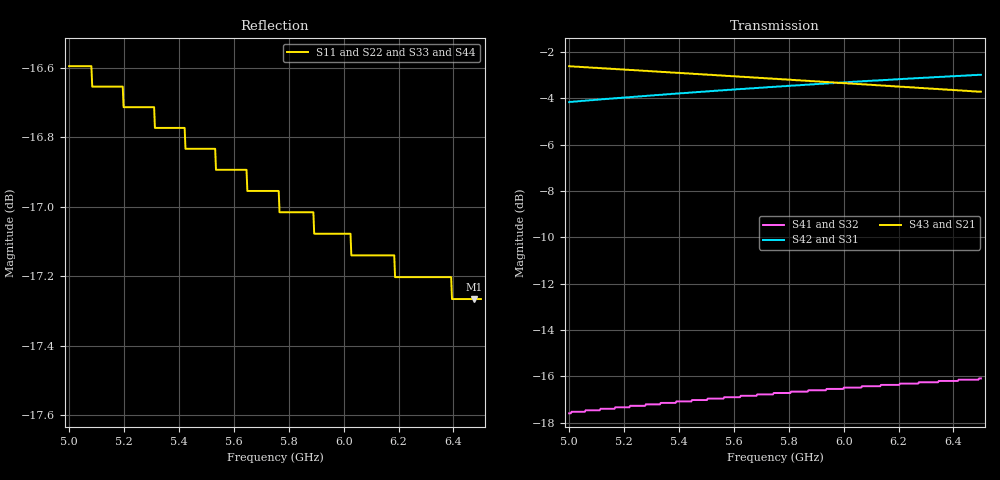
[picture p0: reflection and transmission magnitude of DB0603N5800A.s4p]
!	AVX THIN FILM OPERATION
!	0603 SIZE 3dB 90deg COUPLER P/N DB0603N5800ANTR
!	Created August 2010
!	Network Analyzer HP8720E S.07.64: Feb23, 2000 Serial No.US39172382
# MHZ S MA R 50
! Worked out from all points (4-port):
!   500 points, 5 GHz to 6.5 GHz, reference 50 ohm
!   strongest paths, dB at 5 GHz, 5.376 GHz, 5.752 GHz, 6.127 GHz, 6.5 GHz:
!     S43: -2.6, -2.9, -3.2, -3.4, -3.7
!     S21: -2.6, -2.9, -3.2, -3.4, -3.7
!     S42: -4.2, -3.8, -3.5, -3.2, -3.0
!     S31: -4.2, -3.8, -3.5, -3.2, -3.0
!     S41: -17.6, -17.1, -16.7, -16.4, -16.1
!     S32: -17.6, -17.1, -16.7, -16.4, -16.1
!   lowest |S11| = -17.3 dB at 6.476 GHz (marker M1), VSWR 1.32, Z = 41.3 - j9.06 ohm
!   |S11| at or under -10 dB: start of sweep to end of sweep
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5000  0.148 -135.9  0.74 -49.4  0.619 40.6  0.132 -49.6
      0.74 -49.4  0.148 -135.9  0.132 -49.6  0.619 40.6
      0.619 40.6  0.132 -49.6  0.148 -135.9  0.74 -49.4
      0.132 -49.6  0.619 40.6  0.74 -49.4  0.148 -135.9
5228.457  0.146 -135.5  0.726 -51.2  0.635 39.0  0.137 -53.8
          0.726 -51.2  0.146 -135.5  0.137 -53.8  0.635 39.0
          0.635 39.0  0.137 -53.8  0.146 -135.5  0.726 -51.2
          0.137 -53.8  0.635 39.0  0.726 -51.2  0.146 -135.5
5751.503  0.142 -133.6  0.695 -55.1  0.668 35.6  0.146 -62.8
          0.695 -55.1  0.142 -133.6  0.146 -62.8  0.668 35.6
          0.668 35.6  0.146 -62.8  0.142 -133.6  0.695 -55.1
          0.146 -62.8  0.668 35.6  0.695 -55.1  0.142 -133.6
6019.038  0.14 -131.9  0.679 -57.0  0.684 34.0  0.15 -67.2
          0.679 -57.0  0.14 -131.9  0.15 -67.2  0.684 34.0
          0.684 34.0  0.15 -67.2  0.14 -131.9  0.679 -57.0
          0.15 -67.2  0.684 34.0  0.679 -57.0  0.14 -131.9
6034.068  0.139 -131.8  0.678 -57.2  0.685 33.9  0.15 -67.4
          0.678 -57.2  0.139 -131.8  0.15 -67.4  0.685 33.9
          0.685 33.9  0.15 -67.4  0.139 -131.8  0.678 -57.2
          0.15 -67.4  0.685 33.9  0.678 -57.2  0.139 -131.8
6475.952  0.137 -128.2  0.653 -60.3  0.708 31.2  0.156 -74.2
          0.653 -60.3  0.137 -128.2  0.156 -74.2  0.708 31.2
          0.708 31.2  0.156 -74.2  0.137 -128.2  0.653 -60.3
          0.156 -74.2  0.708 31.2  0.653 -60.3  0.137 -128.2
6500  0.137 -128.0  0.652 -60.5  0.709 31.0  0.157 -74.6
      0.652 -60.5  0.137 -128.0  0.157 -74.6  0.709 31.0
      0.709 31.0  0.157 -74.6  0.137 -128.0  0.652 -60.5
      0.157 -74.6  0.709 31.0  0.652 -60.5  0.137 -128.0
